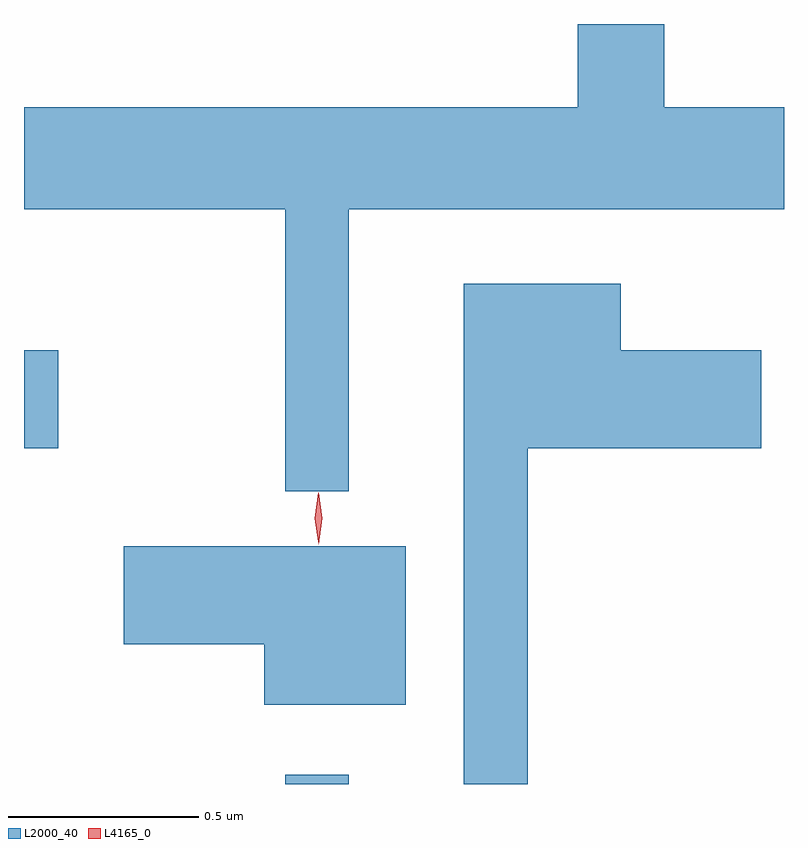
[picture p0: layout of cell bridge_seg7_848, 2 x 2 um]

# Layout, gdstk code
import gdstk
lib = gdstk.Library(unit=1e-6, precision=1e-09)
def R(c, l, rs):  # rectangles x0, y0, x1, y1
    for r in rs: c.add(gdstk.rectangle(r[:2], r[2:], *l))
def P(c, l, *ps):  # polygons
    for p in ps: c.add(gdstk.Polygon(p, *l))
L2000_40 = (2000, 40)
L4165_0 = (4165, 0)

bridge_seg7_848 = lib.new_cell('bridge_seg7_848')
R(bridge_seg7_848, L2000_40, [(212.391,1779.403,212.559,1779.428), (211.704,1780.286,211.794,1780.544)])
P(bridge_seg7_848, L2000_40, [(212.559,1780.916),(213.704,1780.916),(213.704,1781.184),(213.389,1781.184),(213.389,1781.403),(213.161,1781.403),(213.161,1781.184),(211.704,1781.184),(211.704,1780.916),(212.391,1780.916),(212.391,1780.173),(212.559,1780.173)],
  [(213.029,1780.286),(213.644,1780.286),(213.644,1780.544),(213.274,1780.544),(213.274,1780.719),(212.861,1780.719),(212.861,1779.403),(213.029,1779.403)],
  [(212.709,1780.029),(211.966,1780.029),(211.966,1779.771),(212.336,1779.771),(212.336,1779.611),(212.709,1779.611)])
P(bridge_seg7_848, L4165_0, [(212.479,1780.04),(212.478,1780.041),(212.469,1780.103),(212.478,1780.166),(212.478,1780.167),(212.479,1780.166),(212.488,1780.104),(212.479,1780.041)],
  [(212.479,1780.034),(212.479,1780.034),(212.469,1780.102),(212.478,1780.17),(212.478,1780.17),(212.479,1780.17),(212.489,1780.102),(212.48,1780.034)])

lib.write_gds('bridge_seg7_848.gds')
